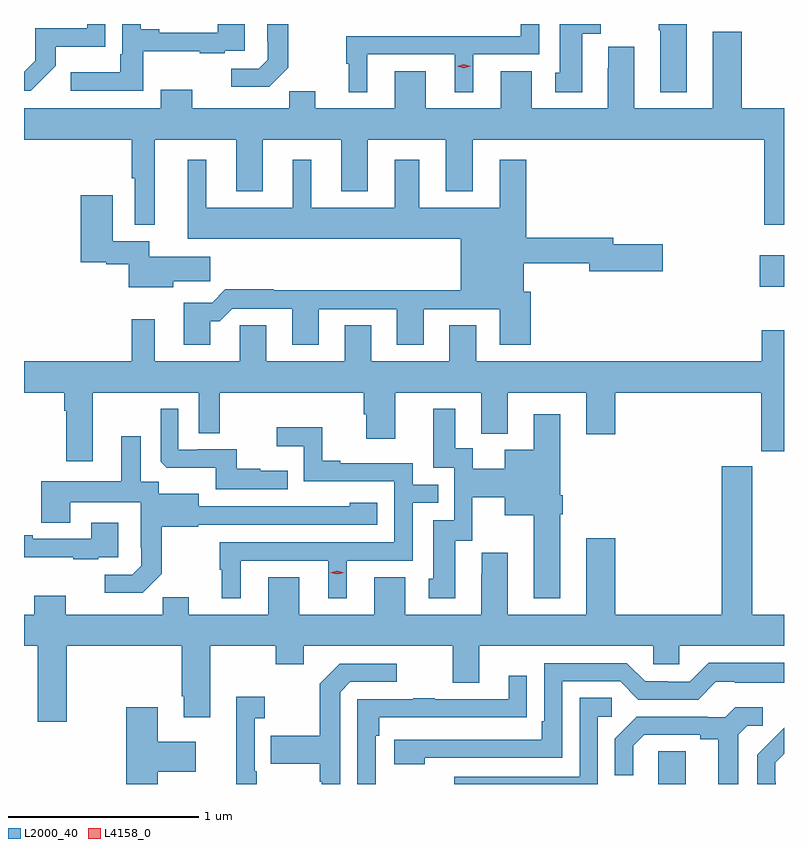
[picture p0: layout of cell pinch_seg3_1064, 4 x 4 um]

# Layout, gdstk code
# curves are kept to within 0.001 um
import gdstk
lib = gdstk.Library(unit=1e-6, precision=1e-09)
def R(c, l, rs):  # rectangles x0, y0, x1, y1
    for r in rs: c.add(gdstk.rectangle(r[:2], r[2:], *l))
def P(c, l, *ps):  # polygons
    for p in ps: c.add(gdstk.Polygon(p, *l))
L2000_40 = (2000, 40)
L4158_0 = (4158, 0)

pinch_seg3_1064 = lib.new_cell('pinch_seg3_1064')
R(pinch_seg3_1064, L2000_40, [(258.504,702.852,258.649,703.025), (259.038,705.47,259.166,705.634)])
P(pinch_seg3_1064, L2000_40, [(258.103,706.802),(258.201,706.802),(258.201,706.852),(257.987,706.852),(257.987,706.596),(257.963,706.596),(257.963,706.494),(258.103,706.494)],
  [(255.793,706.709),(256.091,706.709),(256.091,706.698),(256.223,706.698),(256.223,706.71),(256.327,706.71),(256.327,706.852),(256.187,706.852),(256.187,706.806),(255.877,706.806),(255.877,706.825),(255.781,706.825),(255.781,706.852),(255.684,706.852),(255.684,706.693),(255.672,706.693),(255.672,706.597),(255.411,706.597),(255.411,706.5),(255.793,706.5)],
  [(255.333,706.631),(255.333,706.733),(255.594,706.733),(255.594,706.852),(255.498,706.852),(255.498,706.83),(255.225,706.83),(255.225,706.659),(255.166,706.6),(255.166,706.5),(255.202,706.5)],
  [(256.972,706.692),(257.432,706.692),(257.432,706.493),(257.53,706.493),(257.53,706.692),(257.877,706.692),(257.877,706.852),(257.781,706.852),(257.781,706.788),(256.863,706.788),(256.863,706.644),(256.874,706.644),(256.874,706.493),(256.972,706.493)],
  [(256.557,706.623),(256.557,706.852),(256.446,706.852),(256.446,706.759),(256.448,706.759),(256.448,706.664),(256.401,706.617),(256.257,706.617),(256.257,706.523),(256.457,706.523)],
  [(258.655,706.852),(258.508,706.852),(258.508,706.819),(258.515,706.819),(258.515,706.493),(258.655,706.493)],
  [(258.791,706.81),(258.791,706.408),(258.379,706.408),(258.379,706.732),(258.242,706.732),(258.242,706.619),(258.239,706.619),(258.239,706.408),(257.839,706.408),(257.839,706.603),(257.675,706.603),(257.675,706.408),(257.281,706.408),(257.281,706.603),(257.117,706.603),(257.117,706.408),(256.699,706.408),(256.699,706.499),(256.561,706.499),(256.561,706.408),(256.051,706.408),(256.051,706.507),(255.887,706.507),(255.887,706.408),(255.166,706.408),(255.166,706.244),(255.732,706.244),(255.732,706.039),(255.749,706.039),(255.749,705.795),(255.853,705.795),(255.853,706.244),(256.283,706.244),(256.283,705.971),(256.423,705.971),(256.423,706.244),(256.835,706.244),(256.835,705.971),(256.975,705.971),(256.975,706.244),(257.387,706.244),(257.387,705.971),(257.527,705.971),(257.527,706.244),(259.062,706.244),(259.062,705.795),(259.166,705.795),(259.166,706.408),(258.944,706.408),(258.944,706.81)],
  [(256.147,705.287),(256.196,705.287),(256.263,705.354),(256.577,705.354),(256.577,705.165),(256.717,705.165),(256.717,705.351),(257.129,705.351),(257.129,705.165),(257.269,705.165),(257.269,705.351),(257.669,705.351),(257.669,705.165),(257.834,705.165),(257.834,705.444),(257.797,705.444),(257.797,705.592),(258.14,705.592),(258.14,705.55),(258.529,705.55),(258.529,705.692),(258.268,705.692),(258.268,705.728),(257.81,705.728),(257.81,706.138),(257.669,706.138),(257.669,705.886),(257.245,705.886),(257.245,706.138),(257.117,706.138),(257.117,705.886),(256.678,705.886),(256.678,706.138),(256.58,706.138),(256.58,705.886),(256.126,705.886),(256.126,706.138),(256.028,706.138),(256.028,705.722),(257.465,705.722),(257.465,705.452),(256.481,705.452),(256.481,705.455),(256.226,705.455),(256.156,705.385),(256.007,705.385),(256.007,705.165),(256.147,705.165)],
  [(255.952,705.499),(256.147,705.499),(256.147,705.628),(255.826,705.628),(255.826,705.709),(255.634,705.709),(255.634,705.952),(255.464,705.952),(255.464,705.599),(255.6,705.599),(255.6,705.587),(255.716,705.587),(255.716,705.467),(255.952,705.467)],
  [(255.853,705.298),(255.732,705.298),(255.732,705.076),(255.166,705.076),(255.166,704.912),(255.377,704.912),(255.377,704.816),(255.389,704.816),(255.389,704.55),(255.529,704.55),(255.529,704.912),(256.086,704.912),(256.086,704.698),(256.195,704.698),(256.195,704.912),(256.955,704.912),(256.955,704.799),(256.967,704.799),(256.967,704.67),(257.119,704.67),(257.119,704.912),(257.573,704.912),(257.573,704.696),(257.713,704.696),(257.713,704.912),(258.125,704.912),(258.125,704.694),(258.278,704.694),(258.278,704.912),(259.046,704.912),(259.046,704.603),(259.166,704.603),(259.166,705.241),(259.049,705.241),(259.049,705.076),(257.545,705.076),(257.545,705.266),(257.405,705.266),(257.405,705.076),(256.993,705.076),(256.993,705.266),(256.853,705.266),(256.853,705.076),(256.441,705.076),(256.441,705.266),(256.302,705.266),(256.302,705.076),(255.853,705.076)],
  [(256.553,704.5),(256.409,704.5),(256.409,704.512),(256.286,704.512),(256.286,704.613),(256.078,704.613),(256.078,704.61),(255.978,704.61),(255.978,704.827),(255.885,704.827),(255.885,704.547),(255.917,704.516),(256.176,704.516),(256.176,704.403),(256.553,704.403)],
  [(257.989,704.271),(258.002,704.271),(258.002,704.371),(257.989,704.371),(257.989,704.797),(257.849,704.797),(257.849,704.611),(257.696,704.611),(257.696,704.512),(257.527,704.512),(257.527,704.618),(257.437,704.618),(257.437,704.827),(257.321,704.827),(257.321,704.517),(257.43,704.517),(257.43,704.241),(257.321,704.241),(257.321,703.932),(257.297,703.932),(257.297,703.83),(257.437,703.83),(257.437,704.133),(257.526,704.133),(257.526,704.36),(257.696,704.36),(257.696,704.267),(257.849,704.267),(257.849,703.829),(257.989,703.829)],
  [(256.306,704.028),(256.766,704.028),(256.766,703.829),(256.864,703.829),(256.864,704.028),(257.211,704.028),(257.211,704.331),(257.345,704.331),(257.345,704.427),(257.211,704.427),(257.211,704.541),(256.831,704.541),(256.831,704.554),(256.737,704.554),(256.737,704.729),(256.497,704.729),(256.497,704.63),(256.638,704.63),(256.638,704.445),(257.115,704.445),(257.115,704.124),(256.197,704.124),(256.197,703.98),(256.208,703.98),(256.208,703.829),(256.306,703.829)],
  [(255.891,703.959),(255.891,704.205),(256.083,704.205),(256.083,704.217),(257.026,704.217),(257.026,704.332),(256.881,704.332),(256.881,704.314),(256.087,704.313),(256.087,704.38),(255.876,704.38),(255.876,704.444),(255.781,704.444),(255.781,704.683),(255.677,704.683),(255.677,704.446),(255.257,704.446),(255.257,704.227),(255.409,704.227),(255.409,704.336),(255.78,704.336),(255.78,704.095),(255.782,704.095),(255.782,704),(255.735,703.953),(255.591,703.953),(255.591,703.859),(255.791,703.859)],
  [(255.392,703.58),(255.995,703.58),(255.995,703.315),(256.007,703.315),(256.007,703.203),(256.147,703.203),(256.147,703.58),(256.492,703.58),(256.492,703.481),(256.639,703.481),(256.639,703.58),(257.423,703.58),(257.423,703.386),(257.563,703.386),(257.563,703.58),(258.477,703.58),(258.477,703.482),(258.615,703.482),(258.615,703.58),(259.166,703.58),(259.166,703.744),(258.999,703.744),(258.999,704.524),(258.839,704.524),(258.839,703.744),(258.278,703.744),(258.278,704.146),(258.125,704.146),(258.125,703.744),(257.713,703.744),(257.713,704.068),(257.574,704.068),(257.574,703.955),(257.573,703.955),(257.573,703.744),(257.173,703.744),(257.173,703.939),(257.009,703.939),(257.009,703.744),(256.615,703.744),(256.615,703.939),(256.451,703.939),(256.451,703.744),(256.033,703.744),(256.033,703.835),(255.895,703.835),(255.895,703.744),(255.385,703.744),(255.385,703.843),(255.221,703.843),(255.221,703.744),(255.166,703.744),(255.166,703.58),(255.239,703.58),(255.239,703.179),(255.392,703.179)],
  [(255.557,704.046),(255.661,704.046),(255.661,704.227),(255.521,704.227),(255.521,704.142),(255.211,704.142),(255.211,704.161),(255.166,704.161),(255.166,704.045),(255.425,704.045),(255.425,704.034),(255.557,704.034)],
  [(257.276,702.99),(258,702.99),(258,703.392),(258.303,703.392),(258.399,703.296),(258.714,703.296),(258.807,703.389),(258.907,703.389),(258.907,703.385),(259.166,703.385),(259.166,703.489),(258.769,703.489),(258.669,703.389),(258.554,703.389),(258.554,703.392),(258.435,703.392),(258.339,703.488),(257.904,703.488),(257.904,703.183),(257.891,703.183),(257.891,703.086),(257.115,703.086),(257.115,702.956),(257.276,702.956)],
  [(256.83,703.335),(256.884,703.389),(257.128,703.389),(257.128,703.485),(256.827,703.485),(256.722,703.379),(256.722,703.107),(256.465,703.107),(256.465,702.959),(256.722,702.959),(256.722,702.863),(256.734,702.863),(256.734,702.852),(256.83,702.852)],
  [(257.016,703.106),(257.036,703.106),(257.036,703.203),(257.711,703.203),(257.711,703.204),(257.813,703.204),(257.813,703.423),(257.717,703.423),(257.717,703.299),(257.327,703.299),(257.327,703.304),(257.215,703.304),(257.215,703.299),(256.92,703.299),(256.92,702.852),(257.016,702.852)],
  [(256.392,702.919),(256.38,702.919),(256.38,703.199),(256.432,703.199),(256.432,703.312),(256.283,703.312),(256.283,702.852),(256.392,702.852)],
  [(258.186,703.206),(258.259,703.206),(258.259,703.307),(258.09,703.307),(258.09,702.891),(257.431,702.891),(257.431,702.852),(258.186,702.852)],
  [(255.871,702.917),(256.069,702.917),(256.069,703.075),(255.871,703.075),(255.871,703.255),(255.704,703.255),(255.704,702.852),(255.871,702.852)],
  [(258.925,703.111),(258.972,703.158),(259.054,703.158),(259.054,703.255),(258.91,703.255),(258.858,703.203),(258.764,703.203),(258.764,703.206),(258.392,703.206),(258.276,703.09),(258.276,702.897),(258.373,702.897),(258.373,703.053),(258.43,703.11),(258.725,703.11),(258.725,703.088),(258.821,703.088),(258.821,702.852),(258.925,702.852)],
  [(259.123,702.86),(259.121,702.86),(259.121,702.965),(259.166,703.01),(259.166,703.148),(259.098,703.08),(259.099,703.079),(259.026,703.006),(259.026,702.852),(259.123,702.852)])
P(pinch_seg3_1064, L4158_0, [(257.481,706.62),(257.445,706.63),(257.445,706.63),(257.445,706.63),(257.481,706.64),(257.517,706.63),(257.517,706.63),(257.517,706.63)],
  [(256.815,703.955),(256.779,703.964),(256.779,703.965),(256.779,703.965),(256.815,703.975),(256.851,703.965),(256.851,703.965),(256.851,703.964)])

lib.write_gds('pinch_seg3_1064.gds')
